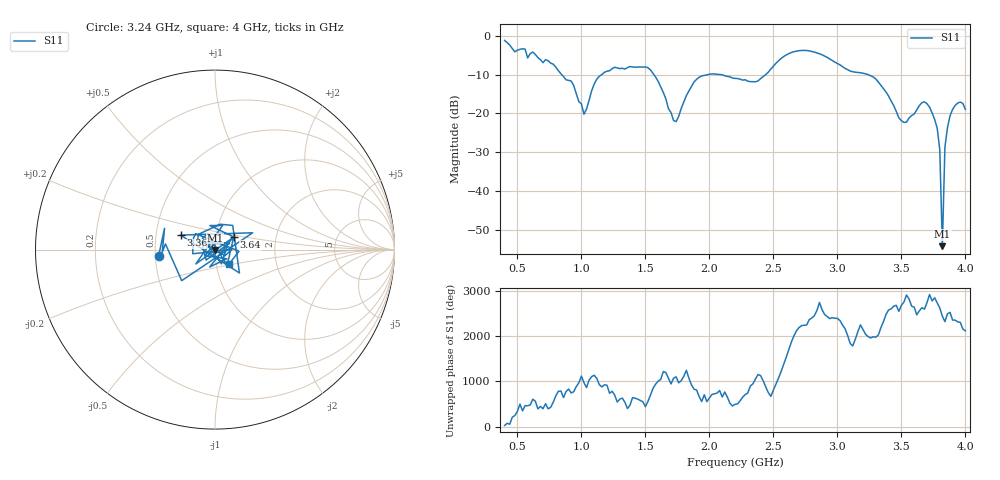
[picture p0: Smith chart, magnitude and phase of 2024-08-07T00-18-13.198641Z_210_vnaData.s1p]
!Created with skrf (http://scikit-rf.org).
# Hz S RI R 50.0
!freq ReS11 ImS11
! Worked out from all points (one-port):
!   181 points, 400 MHz to 4 GHz, reference 50 ohm
!   lowest |S11| = -54.2 dB at 3.82 GHz (marker M1), VSWR 1.00, Z = 50 - j0.192 ohm
!   |S11| at or under -10 dB: 1.566 GHz to 1.989 GHz (422.4 MHz wide, 23.8 % of centre); 2.088 GHz to 2.44 GHz (352.4 MHz wide, 15.6 % of centre); 3.24 GHz to end of sweep (the widest 3 of 4)
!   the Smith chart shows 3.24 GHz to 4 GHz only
!   S11 on the Smith chart (normalised r, x): 3.24 GHz: 0.52, -0.04; 3.36 GHz: 0.67, +0.11; 3.64 GHz: 1.22, +0.17; 4 GHz: 1.15, -0.19
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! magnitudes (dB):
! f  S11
! 400 MHz  -1.2
! 860 MHz  -10.5
! 940 MHz  -12.8
! 1.02 GHz  -20.2
! 1.12 GHz  -11.2
! 1.3 GHz  -8.5
! 1.52 GHz  -8.2
! 1.6 GHz  -11.8
! 1.72 GHz  -21.8
! 1.76 GHz  -20.8
! 1.92 GHz  -10.7
! 2.2 GHz  -11.0
! 2.38 GHz  -11.6
! 2.66 GHz  -4.1
! 3.1 GHz  -9.1
! 3.24 GHz  -10.0
! 3.36 GHz  -13.6
! 3.48 GHz  -21.1
! 3.56 GHz  -21.2
! 3.64 GHz  -18.0
! 3.7 GHz  -17.5
! 3.78 GHz  -23.9
! 3.8 GHz  -29.4
! 3.82 GHz  -54.2
! 3.84 GHz  -28.7
! 3.86 GHz  -23.7
! 3.92 GHz  -18.0
! 4 GHz  -19.0
